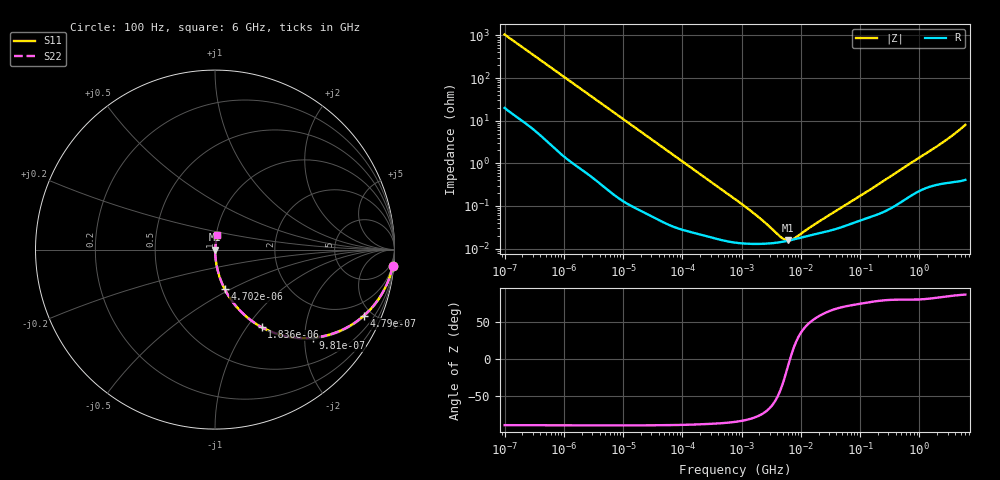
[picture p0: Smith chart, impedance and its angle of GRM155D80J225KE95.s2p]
!Murata Part Number: GRM155D80J225KE95
!These Parameters are Measured in Series Mode Connection
!Data Generated on Mar 30, 2021
!  o--ll--o
!Port1  Port2
!  o------o
!Operation Temp=25[degC], DC Bias Voltage=0[V]
!Freq. Start=100[Hz] Stop=6[GHz] 401[Steps]
# Hz S RI R 50
!Freq.(Hz) S11(Real) S11(Imag) S21(Real) S21(Imag) S12(Real) S12(Imag) S22(Real) S22(Imag)
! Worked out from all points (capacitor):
!   401 points, 100 Hz to 6 GHz, reference 50 ohm
!   read as one part in series: C = 1.51 uF near 109 Hz
!   lowest |Z| = 15.5 mohm at 6.075 MHz (marker M1)
!   series resonance near 6.573 MHz, so ESL is about 390 pH
!   S11 on the Smith chart (normalised r, x): 100 Hz: 1, -21; 479 Hz: 1.07, -4.46; 981 Hz: 1.03, -2.19; 1.836 kHz: 1.02, -1.18; 4.702 kHz: 1.01, -0.46; 6 GHz: 1.01, +0.16
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100  0.9893 -0.0941  0.0107 0.0941  0.0107 0.0941  0.9893 -0.0941
245  0.9458 -0.2174  0.0542 0.2174  0.0542 0.2174  0.9458 -0.2174
479  0.8288 -0.3686  0.1712 0.3686  0.1712 0.3686  0.8288 -0.3686
656  0.7251 -0.4391  0.2749 0.4391  0.2749 0.4391  0.7251 -0.4391
981  0.5454 -0.4912  0.4546 0.4912  0.4546 0.4912  0.5454 -0.4912
1342  0.3936 -0.482  0.6064 0.482  0.6064 0.482  0.3936 -0.482
1836  0.26 -0.4322  0.74 0.4322  0.74 0.4322  0.26 -0.4322
2008  0.2278 -0.4129  0.7722 0.4129  0.7722 0.4129  0.2278 -0.4129
3005  0.1186 -0.3169  0.8814 0.3169  0.8814 0.3169  0.1186 -0.3169
4702  0.0533 -0.2187  0.9467 0.2187  0.9467 0.2187  0.0533 -0.2187
12041  0.00929 -0.09  0.9907 0.09  0.9907 0.09  0.00929 -0.09
40335  0.00121 -0.0273  0.9988 0.0273  0.9988 0.0273  0.00121 -0.0273
774597  0.000141 -0.00145  0.9999 0.00145  0.9999 0.00145  0.000141 -0.00145
1983483  0.00013 -0.000518  0.9999 0.000518  0.9999 0.000518  0.00013 -0.000518
4643984  0.000143 -0.000117  0.9999 0.000117  0.9999 0.000117  0.000143 -0.000117
5311619  0.000148 -7.01e-05  0.9999 7.01e-05  0.9999 7.01e-05  0.000148 -7.01e-05
6075234  0.000153 -2.53e-05  0.9998 2.53e-05  0.9998 2.53e-05  0.000153 -2.53e-05
7947587  0.000167 5.93e-05  0.9998 -5.93e-05  0.9998 -5.93e-05  0.000167 5.93e-05
1.555665e7  0.000211 0.000269  0.9998 -0.000269  0.9998 -0.000269  0.000211 0.000269
3.124326e8  0.000865 0.00469  0.9991 -0.00469  0.9991 -0.00469  0.000865 0.00469
2.142435e9  0.0039 0.0264  0.9961 -0.0264  0.9961 -0.0264  0.0039 0.0264
6e9  0.0104 0.0792  0.9896 -0.0792  0.9896 -0.0792  0.0104 0.0792
